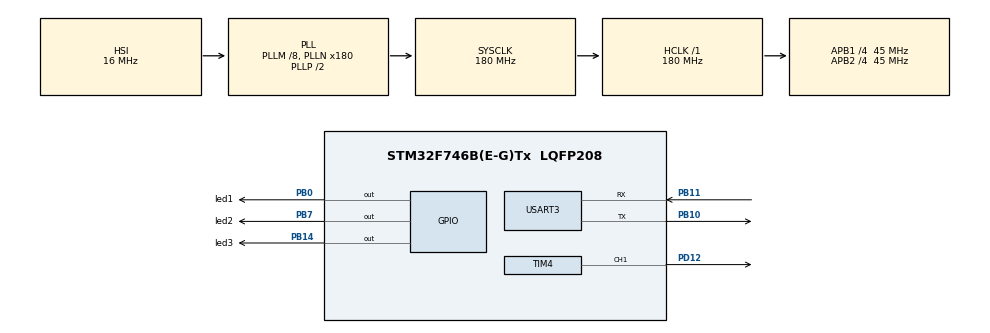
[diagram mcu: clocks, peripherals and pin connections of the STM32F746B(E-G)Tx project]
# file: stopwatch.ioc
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Mcu.Family=STM32F7
Mcu.Name=STM32F746B(E-G)Tx
Mcu.Package=LQFP208
NVIC.PriorityGroup=NVIC_PRIORITYGROUP_4
NVIC.USART3_IRQn=true\:0\:0\:false\:false\:true\:true\:true\:true
PB0.GPIO_Label=led1
PB0.Signal=GPIO_Output
PB10.Mode=Asynchronous
PB10.Signal=USART3_TX
PB11.Mode=Asynchronous
PB11.Signal=USART3_RX
PB14.GPIO_Label=led3
PB14.Signal=GPIO_Output
PB7.GPIO_Label=led2
PB7.Signal=GPIO_Output
PC14/OSC32_IN.Mode=LSE-External-Oscillator
PC14/OSC32_IN.Signal=RCC_OSC32_IN
PC15/OSC32_OUT.Mode=LSE-External-Oscillator
PC15/OSC32_OUT.Signal=RCC_OSC32_OUT
PD12.Signal=S_TIM4_CH1
ProjectManager.HeapSize=0x200
ProjectManager.StackSize=0x400
ProjectManager.TargetToolchain=STM32CubeIDE
RCC.AHBFreq_Value=180000000
RCC.APB1CLKDivider=RCC_HCLK_DIV4
RCC.APB1Freq_Value=45000000
RCC.APB1TimFreq_Value=90000000
RCC.APB2CLKDivider=RCC_HCLK_DIV4
RCC.APB2Freq_Value=45000000
RCC.APB2TimFreq_Value=90000000
RCC.CortexFreq_Value=180000000
RCC.HCLKFreq_Value=180000000
RCC.HSE_VALUE=25000000
RCC.HSI_VALUE=16000000
RCC.PLLM=8
RCC.PLLN=180
RCC.RTCClockSelection=RCC_RTCCLKSOURCE_LSE
RCC.SYSCLKFreq_VALUE=180000000
RCC.SYSCLKSource=RCC_SYSCLKSOURCE_PLLCLK
RCC.USBFreq_Value=180000000
RCC.VCOOutputFreq_Value=360000000
SH.S_TIM4_CH1.0=TIM4_CH1,PWM Generation1 CH1
TIM4.Channel-PWM\ Generation1\ CH1=TIM_CHANNEL_1
TIM4.Pulse-PWM\ Generation1\ CH1=3000
USART3.VirtualMode-Asynchronous=VM_ASYNC
VP_RTC_VS_RTC_Activate.Mode=RTC_Enabled
VP_TIM4_VS_ClockSourceINT.Mode=Internal
board=custom

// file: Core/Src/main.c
/* USER CODE BEGIN Header */
/**
  ******************************************************************************
  * @file           : main.c
  * @brief          : Main program body
  ******************************************************************************
  * @attention
  *
  * Copyright (c) 2022 STMicroelectronics.
  * All rights reserved.
  *
  * This software is licensed under terms that can be found in the LICENSE file
  * in the root directory of this software component.
  * If no LICENSE file comes with this software, it is provided AS-IS.
  *
  ******************************************************************************
  */
/* USER CODE END Header */
#include <stdio.h>
#include <string.h>
#include "main.h"

RTC_HandleTypeDef hrtc;

TIM_HandleTypeDef htim4;

UART_HandleTypeDef huart3;

void SystemClock_Config(void);
static void MX_GPIO_Init(void);
static void MX_RTC_Init(void);
static void MX_USART3_UART_Init(void);
static void MX_TIM4_Init(void);

/* USER CODE BEGIN 0 */

char uart_buf[30];
volatile int second_count, timer_count;

void HAL_SYSTICK_Callback(void){
	if((timer_count%1000) == 0){
		memset(uart_buf,0,30);
		sprintf(uart_buf, "%d,%d\r\n", second_count, timer_count);
		HAL_UART_Transmit_IT(&huart3,uart_buf,sizeof(uart_buf));

//		HAL_GPIO_WritePin(led1_GPIO_Port, led1_Pin, GPIO_PIN_SET);
//		HAL_Delay(100) ;
//		HAL_GPIO_WritePin(led1_GPIO_Port, led1_Pin, GPIO_PIN_RESET);
//		HAL_Delay(100) ;
		second_count++;
	}
	timer_count++;
}

/* USER CODE END 0 */

int main(void)
{

  /* MCU Configuration--------------------------------------------------------*/

  /* Reset of all peripherals, Initializes the Flash interface and the Systick. */
  HAL_Init();

  /* Configure the system clock */
  SystemClock_Config();

  /* Initialize all configured peripherals */
  MX_GPIO_Init();
  MX_RTC_Init();
  MX_USART3_UART_Init();
  MX_TIM4_Init();
  /* USER CODE BEGIN 2 */
  HAL_TIM_PWM_Start(&htim4,TIM_CHANNEL_1);
  /* USER CODE END 2 */

  /* Infinite loop */
  while (1)
  {

    /* USER CODE BEGIN 3 */

	  HAL_GPIO_TogglePin(led1_GPIO_Port, led1_Pin);
	  HAL_Delay(100) ;
	  HAL_GPIO_TogglePin(led1_GPIO_Port, led2_Pin);
	  HAL_Delay(100) ;
	  HAL_GPIO_TogglePin(led1_GPIO_Port, led3_Pin);
	  HAL_Delay(100) ;

	  char Buffer[] ="hello";

	  HAL_UART_Transmit(&huart3,Buffer,strlen(Buffer),10);
//	  HAL_GPIO_WritePin(led1_GPIO_Port, led1_Pin, GPIO_PIN_SET);
//	  HAL_Delay(500) ;
//	  HAL_GPIO_WritePin(led1_GPIO_Port, led1_Pin, GPIO_PIN_RESET);
//	  HAL_Delay(500) ;

  }
  /* USER CODE END 3 */
}

void SystemClock_Config(void)
{
  RCC_OscInitTypeDef RCC_OscInitStruct = {0};
  RCC_ClkInitTypeDef RCC_ClkInitStruct = {0};

  /** Configure LSE Drive Capability
  */
  HAL_PWR_EnableBkUpAccess();
  __HAL_RCC_LSEDRIVE_CONFIG(RCC_LSEDRIVE_LOW);

  /** Configure the main internal regulator output voltage
  */
  __HAL_RCC_PWR_CLK_ENABLE();
  __HAL_PWR_VOLTAGESCALING_CONFIG(PWR_REGULATOR_VOLTAGE_SCALE1);

  /** Initializes the RCC Oscillators according to the specified parameters
  * in the RCC_OscInitTypeDef structure.
  */
  RCC_OscInitStruct.OscillatorType = RCC_OSCILLATORTYPE_HSI|RCC_OSCILLATORTYPE_LSE;
  RCC_OscInitStruct.LSEState = RCC_LSE_ON;
  RCC_OscInitStruct.HSIState = RCC_HSI_ON;
  RCC_OscInitStruct.HSICalibrationValue = RCC_HSICALIBRATION_DEFAULT;
  RCC_OscInitStruct.PLL.PLLState = RCC_PLL_ON;
  RCC_OscInitStruct.PLL.PLLSource = RCC_PLLSOURCE_HSI;
  RCC_OscInitStruct.PLL.PLLM = 8;
  RCC_OscInitStruct.PLL.PLLN = 180;
  RCC_OscInitStruct.PLL.PLLP = RCC_PLLP_DIV2;
  RCC_OscInitStruct.PLL.PLLQ = 2;
  if (HAL_RCC_OscConfig(&RCC_OscInitStruct) != HAL_OK)
  {
    Error_Handler();
  }

  /** Initializes the CPU, AHB and APB buses clocks
  */
  RCC_ClkInitStruct.ClockType = RCC_CLOCKTYPE_HCLK|RCC_CLOCKTYPE_SYSCLK
                              |RCC_CLOCKTYPE_PCLK1|RCC_CLOCKTYPE_PCLK2;
  RCC_ClkInitStruct.SYSCLKSource = RCC_SYSCLKSOURCE_PLLCLK;
  RCC_ClkInitStruct.AHBCLKDivider = RCC_SYSCLK_DIV1;
  RCC_ClkInitStruct.APB1CLKDivider = RCC_HCLK_DIV4;
  RCC_ClkInitStruct.APB2CLKDivider = RCC_HCLK_DIV4;

  if (HAL_RCC_ClockConfig(&RCC_ClkInitStruct, FLASH_LATENCY_5) != HAL_OK)
  {
    Error_Handler();
  }
}

static void MX_RTC_Init(void)
{

  /** Initialize RTC Only
  */
  hrtc.Instance = RTC;
  hrtc.Init.HourFormat = RTC_HOURFORMAT_24;
  hrtc.Init.AsynchPrediv = 127;
  hrtc.Init.SynchPrediv = 255;
  hrtc.Init.OutPut = RTC_OUTPUT_DISABLE;
  hrtc.Init.OutPutPolarity = RTC_OUTPUT_POLARITY_HIGH;
  hrtc.Init.OutPutType = RTC_OUTPUT_TYPE_OPENDRAIN;
  if (HAL_RTC_Init(&hrtc) != HAL_OK)
  {
    Error_Handler();
  }

}

static void MX_TIM4_Init(void)
{

  TIM_ClockConfigTypeDef sClockSourceConfig = {0};
  TIM_MasterConfigTypeDef sMasterConfig = {0};
  TIM_OC_InitTypeDef sConfigOC = {0};

  htim4.Instance = TIM4;
  htim4.Init.Prescaler = 0;
  htim4.Init.CounterMode = TIM_COUNTERMODE_UP;
  htim4.Init.Period = 65535;
  htim4.Init.ClockDivision = TIM_CLOCKDIVISION_DIV1;
  htim4.Init.AutoReloadPreload = TIM_AUTORELOAD_PRELOAD_DISABLE;
  if (HAL_TIM_Base_Init(&htim4) != HAL_OK)
  {
    Error_Handler();
  }
  sClockSourceConfig.ClockSource = TIM_CLOCKSOURCE_INTERNAL;
  if (HAL_TIM_ConfigClockSource(&htim4, &sClockSourceConfig) != HAL_OK)
  {
    Error_Handler();
  }
  if (HAL_TIM_PWM_Init(&htim4) != HAL_OK)
  {
    Error_Handler();
  }
  sMasterConfig.MasterOutputTrigger = TIM_TRGO_RESET;
  sMasterConfig.MasterSlaveMode = TIM_MASTERSLAVEMODE_DISABLE;
  if (HAL_TIMEx_MasterConfigSynchronization(&htim4, &sMasterConfig) != HAL_OK)
  {
    Error_Handler();
  }
  sConfigOC.OCMode = TIM_OCMODE_PWM1;
  sConfigOC.Pulse = 3000;
  sConfigOC.OCPolarity = TIM_OCPOLARITY_HIGH;
  sConfigOC.OCFastMode = TIM_OCFAST_DISABLE;
  if (HAL_TIM_PWM_ConfigChannel(&htim4, &sConfigOC, TIM_CHANNEL_1) != HAL_OK)
  {
    Error_Handler();
  }
  HAL_TIM_MspPostInit(&htim4);

}

static void MX_USART3_UART_Init(void)
{

  huart3.Instance = USART3;
  huart3.Init.BaudRate = 115200;
  huart3.Init.WordLength = UART_WORDLENGTH_8B;
  huart3.Init.StopBits = UART_STOPBITS_1;
  huart3.Init.Parity = UART_PARITY_NONE;
  huart3.Init.Mode = UART_MODE_TX_RX;
  huart3.Init.HwFlowCtl = UART_HWCONTROL_NONE;
  huart3.Init.OverSampling = UART_OVERSAMPLING_16;
  huart3.Init.OneBitSampling = UART_ONE_BIT_SAMPLE_DISABLE;
  huart3.AdvancedInit.AdvFeatureInit = UART_ADVFEATURE_NO_INIT;
  if (HAL_UART_Init(&huart3) != HAL_OK)
  {
    Error_Handler();
  }

}

static void MX_GPIO_Init(void)
{
  GPIO_InitTypeDef GPIO_InitStruct = {0};

  /* GPIO Ports Clock Enable */
  __HAL_RCC_GPIOC_CLK_ENABLE();
  __HAL_RCC_GPIOB_CLK_ENABLE();
  __HAL_RCC_GPIOD_CLK_ENABLE();

  /*Configure GPIO pin Output Level */
  HAL_GPIO_WritePin(GPIOB, led1_Pin|led3_Pin|led2_Pin, GPIO_PIN_RESET);

  /*Configure GPIO pins : led1_Pin led3_Pin led2_Pin */
  GPIO_InitStruct.Pin = led1_Pin|led3_Pin|led2_Pin;
  GPIO_InitStruct.Mode = GPIO_MODE_OUTPUT_PP;
  GPIO_InitStruct.Pull = GPIO_NOPULL;
  GPIO_InitStruct.Speed = GPIO_SPEED_FREQ_LOW;
  HAL_GPIO_Init(GPIOB, &GPIO_InitStruct);

}

void Error_Handler(void)
{
  __disable_irq();
  while (1)
  {
  }
}
